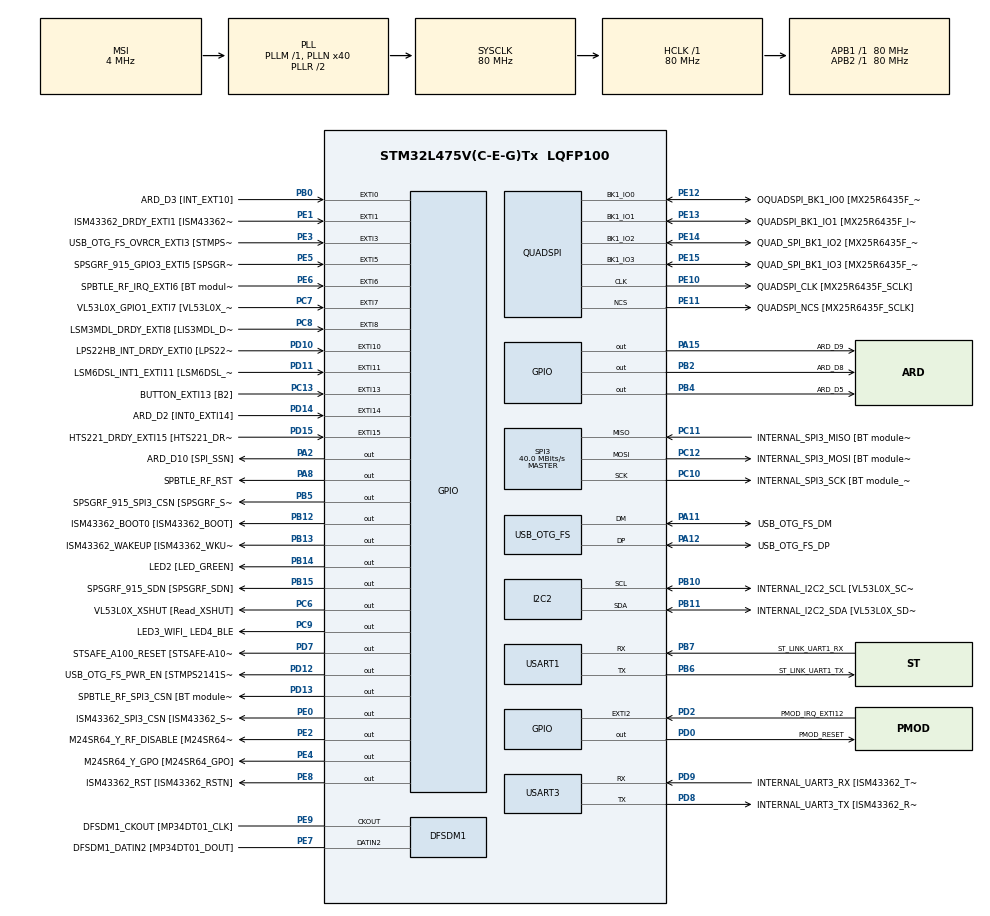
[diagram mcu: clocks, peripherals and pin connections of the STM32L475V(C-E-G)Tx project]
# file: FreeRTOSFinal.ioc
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FREERTOS.Tasks01=defaultTask,0,128,StartDefaultTask,Default,NULL,Dynamic,NULL,NULL;pingTask,-2,128,StartPingTask,Default,NULL,Dynamic,NULL,NULL;pongTask,-2,128,StartPongTask,Default,NULL,Dynamic,NULL,NULL
FREERTOS.configUSE_TIMERS=1
Mcu.Family=STM32L4
Mcu.Name=STM32L475V(C-E-G)Tx
Mcu.Package=LQFP100
NVIC.EXTI15_10_IRQn=true\:5\:0\:false\:false\:true\:true\:true\:true
NVIC.EXTI9_5_IRQn=true\:5\:0\:false\:false\:true\:true\:true\:true
NVIC.PriorityGroup=NVIC_PRIORITYGROUP_4
NVIC.TIM1_UP_TIM16_IRQn=true\:15\:0\:false\:false\:true\:false\:false\:true
NVIC.TimeBase=TIM1_UP_TIM16_IRQn
NVIC.TimeBaseIP=TIM1
PA0.GPIO_Label=ARD_D1 [UART4_TX]
PA0.Signal=UART4_TX
PA1.GPIO_Label=ARD_D0 [UART4_RX]
PA1.Signal=UART4_RX
PA10.GPIO_Label=USB_OTG_FS_ID
PA10.Signal=USB_OTG_FS_ID
PA11.GPIO_Label=USB_OTG_FS_DM
PA11.Mode=Device_Only
PA11.Signal=USB_OTG_FS_DM
PA12.GPIO_Label=USB_OTG_FS_DP
PA12.Mode=Device_Only
PA12.Signal=USB_OTG_FS_DP
PA13\ (JTMS-SWDIO).GPIO_Label=SYS_JTMS_SWDIO
PA13\ (JTMS-SWDIO).Mode=Serial_Wire
PA13\ (JTMS-SWDIO).Signal=SYS_JTMS-SWDIO
PA14\ (JTCK-SWCLK).GPIO_Label=SYS_JTCK_SWCLK
PA14\ (JTCK-SWCLK).Mode=Serial_Wire
PA14\ (JTCK-SWCLK).Signal=SYS_JTCK-SWCLK
PA15\ (JTDI).GPIO_Label=ARD_D9
PA15\ (JTDI).Signal=GPIO_Output
PA2.GPIO_Label=ARD_D10 [SPI_SSN]
PA2.Signal=GPIO_Output
PA3.GPIO_Label=ARD_D4
PA3.Signal=S_TIM2_CH4
PA4.GPIO_Label=ARD_D7
PA4.Signal=ADCx_IN9
PA5.GPIO_Label=ARD_D13 [SPI1_SCK]
PA5.Signal=SPI1_SCK
PA6.GPIO_Label=ARD_D12 [SPI1_MISO]
PA6.Signal=SPI1_MISO
PA7.GPIO_Label=ARD_D11 [SPI1_MOSI]
PA7.Signal=SPI1_MOSI
PA8.GPIO_Label=SPBTLE_RF_RST
PA8.Signal=GPIO_Output
PA9.GPIO_Label=USB_OTG_FS_VBUS [STMPS2141STR_OUT]
PA9.Signal=USB_OTG_FS_VBUS
PB0.GPIO_Label=ARD_D3 [INT_EXT10]
PB0.Signal=GPXTI0
PB1.GPIO_Label=ARD_D6 [ADC1_IN6]
PB1.Signal=ADCx_IN16
PB10.GPIO_Label=INTERNAL_I2C2_SCL [VL53L0X_SCL]
PB10.GPIO_Pu=GPIO_PULLUP
PB10.Mode=I2C
PB10.Signal=I2C2_SCL
PB11.GPIO_Label=INTERNAL_I2C2_SDA [VL53L0X_SDA]
PB11.GPIO_Pu=GPIO_PULLUP
PB11.Mode=I2C
PB11.Signal=I2C2_SDA
PB12.GPIO_Label=ISM43362_BOOT0 [ISM43362_BOOT]
PB12.Signal=GPIO_Output
PB13.GPIO_Label=ISM43362_WAKEUP [ISM43362_WKUP]
PB13.Signal=GPIO_Output
PB14.GPIO_Label=LED2 [LED_GREEN]
PB14.Signal=GPIO_Output
PB15.GPIO_Label=SPSGRF_915_SDN [SPSGRF_SDN]
PB15.Signal=GPIO_Output
PB2.GPIO_Label=ARD_D8
PB2.Signal=GPIO_Output
PB3\ (JTDO-TRACESWO).GPIO_Label=SYS_JTD0_SWO
PB3\ (JTDO-TRACESWO).Signal=SYS_JTDO-SWO
PB4\ (NJTRST).GPIO_Label=ARD_D5
PB4\ (NJTRST).Signal=GPIO_Output
PB5.GPIO_Label=SPSGRF_915_SPI3_CSN [SPSGRF_SPI_CS]
PB5.PinState=GPIO_PIN_SET
PB5.Signal=GPIO_Output
PB6.GPIO_Label=ST_LINK_UART1_TX
PB6.Mode=Asynchronous
PB6.Signal=USART1_TX
PB7.GPIO_Label=ST_LINK_UART1_RX
PB7.Mode=Asynchronous
PB7.Signal=USART1_RX
PB8.GPIO_Label=ARD_D15 [I2C1_SCL]
PB8.Signal=I2C1_SCL
PB9.GPIO_Label=ARD_D14 [I2C1_SDA]
PB9.Signal=I2C1_SDA
PC0.GPIO_Label=ARD_A5 [ADC]
PC0.Signal=ADCx_IN1
PC1.GPIO_Label=ARD_A4 [ADC]
PC1.Signal=ADCx_IN2
PC10.GPIO_Label=INTERNAL_SPI3_SCK [BT module_SPI_SCLK] [ISM43362_SCK]
PC10.Mode=Full_Duplex_Master
PC10.Signal=SPI3_SCK
PC11.GPIO_Label=INTERNAL_SPI3_MISO [BT module_SPI_MISO] [ISM43362_MISO]
PC11.Mode=Full_Duplex_Master
PC11.Signal=SPI3_MISO
PC12.GPIO_Label=INTERNAL_SPI3_MOSI [BT module_SPI_MOSI] [ISM43362_MOSI]
PC12.Mode=Full_Duplex_Master
PC12.Signal=SPI3_MOSI
PC13.GPIO_Label=BUTTON_EXTI13 [B2]
PC13.GPIO_ModeDefaultEXTI=GPIO_MODE_IT_FALLING
PC13.Signal=GPXTI13
PC14-OSC32_IN\ (PC14).Mode=LSE-External-Oscillator
PC14-OSC32_IN\ (PC14).Signal=RCC_OSC32_IN
PC15-OSC32_OUT\ (PC15).Mode=LSE-External-Oscillator
PC15-OSC32_OUT\ (PC15).Signal=RCC_OSC32_OUT
PC2.GPIO_Label=ARD_A3 [ADC]
PC2.Signal=ADCx_IN3
PC3.GPIO_Label=ARD_A2 [ADC]
PC3.Signal=ADCx_IN4
PC4.GPIO_Label=ARD_A1 [ADC]
PC4.Signal=ADCx_IN13
PC5.GPIO_Label=ARD_A0 [ADC]
PC5.Signal=ADCx_IN14
PC6.GPIO_Label=VL53L0X_XSHUT [Read_XSHUT]
PC6.Signal=GPIO_Output
PC7.GPIO_Label=VL53L0X_GPIO1_EXTI7 [VL53L0X_GPIO1]
PC7.Signal=GPXTI7
PC8.GPIO_Label=LSM3MDL_DRDY_EXTI8 [LIS3MDL_DRDY]
PC8.Signal=GPXTI8
PC9.GPIO_Label=LED3_WIFI_ LED4_BLE
PC9.Signal=GPIO_Output
PD0.GPIO_Label=PMOD_RESET
PD0.Signal=GPIO_Output
PD1.GPIO_Label=PMOD_SPI2_SCK
PD1.Signal=SPI2_SCK
PD10.GPIO_Label=LPS22HB_INT_DRDY_EXTI0 [LPS22HB_INT_DRDY] 
PD10.Signal=GPXTI10
PD11.GPIO_Label=LSM6DSL_INT1_EXTI11 [LSM6DSL_INT1]
PD11.Signal=GPXTI11
PD12.GPIO_Label=USB_OTG_FS_PWR_EN [STMPS2141STR_EN]
PD12.Signal=GPIO_Output
PD13.GPIO_Label=SPBTLE_RF_SPI3_CSN [BT module_SPI_CS]
PD13.PinState=GPIO_PIN_SET
PD13.Signal=GPIO_Output
PD14.GPIO_Label=ARD_D2 [INT0_EXTI14]
PD14.Signal=GPXTI14
PD15.GPIO_Label=HTS221_DRDY_EXTI15 [HTS221_DRDY]
PD15.Signal=GPXTI15
PD2.GPIO_Label=PMOD_IRQ_EXTI12
PD2.Signal=GPXTI2
PD3.GPIO_Label=PMOD_UART2_CTS
PD3.Signal=USART2_CTS
PD4.GPIO_Label=PMOD_UART2_RTS
PD4.Signal=USART2_RTS
PD5.GPIO_Label=PMOD_UART2_TX
PD5.Signal=USART2_TX
PD6.GPIO_Label=PMOD_UART2_RX
PD6.Signal=USART2_RX
PD7.GPIO_Label=STSAFE_A100_RESET [STSAFE-A100_RESET]
PD7.Signal=GPIO_Output
PD8.GPIO_Label=INTERNAL_UART3_TX [ISM43362_RX]
PD8.Mode=Asynchronous
PD8.Signal=USART3_TX
PD9.GPIO_Label=INTERNAL_UART3_RX [ISM43362_TX]
PD9.Mode=Asynchronous
PD9.Signal=USART3_RX
PE0.GPIO_Label=ISM43362_SPI3_CSN [ISM43362_SSN]
PE0.PinState=GPIO_PIN_SET
PE0.Signal=GPIO_Output
PE1.GPIO_Label=ISM43362_DRDY_EXTI1 [ISM43362_DATARDY]
PE1.Signal=GPXTI1
PE10.GPIO_Label=QUADSPI_CLK [MX25R6435F_SCLK]
PE10.Mode=Single Bank
PE10.Signal=QUADSPI_CLK
PE11.GPIO_Label=QUADSPI_NCS [MX25R6435F_SCLK]
PE11.Mode=Single Bank
PE11.Signal=QUADSPI_NCS
PE12.GPIO_Label=OQUADSPI_BK1_IO0 [MX25R6435F_IO0]
PE12.Mode=Single Bank
PE12.Signal=QUADSPI_BK1_IO0
PE13.GPIO_Label=QUADSPI_BK1_IO1 [MX25R6435F_IO1]
PE13.Mode=Single Bank
PE13.Signal=QUADSPI_BK1_IO1
PE14.GPIO_Label=QUAD_SPI_BK1_IO2 [MX25R6435F_IO2]
PE14.Mode=Single Bank
PE14.Signal=QUADSPI_BK1_IO2
PE15.GPIO_Label=QUAD_SPI_BK1_IO3 [MX25R6435F_IO3]
PE15.Mode=Single Bank
PE15.Signal=QUADSPI_BK1_IO3
PE2.GPIO_Label=M24SR64_Y_RF_DISABLE [M24SR64_RFDIS]
PE2.Signal=GPIO_Output
PE3.GPIO_Label=USB_OTG_FS_OVRCR_EXTI3 [STMPS2141STR_FAULT]
PE3.Signal=GPXTI3
PE4.GPIO_Label=M24SR64_Y_GPO [M24SR64_GPO]
PE4.Signal=GPIO_Output
PE5.GPIO_Label=SPSGRF_915_GPIO3_EXTI5 [SPSGRF_GPIO_3]
PE5.Signal=GPXTI5
PE6.GPIO_Label=SPBTLE_RF_IRQ_EXTI6 [BT module_SPI_IRQ]
PE6.Signal=GPXTI6
PE7.GPIO_Label=DFSDM1_DATIN2 [MP34DT01_DOUT]
PE7.Signal=S_DATAIN2DFSDM1
PE8.GPIO_Label=ISM43362_RST [ISM43362_RSTN]
PE8.Signal=GPIO_Output
PE9.GPIO_Label=DFSDM1_CKOUT [MP34DT01_CLK]
PE9.Signal=S_CKOUTDFSDM1
ProjectManager.HeapSize=0x200
ProjectManager.StackSize=0x400
ProjectManager.TargetToolchain=STM32CubeIDE
QUADSPI.ClockPrescaler=2
QUADSPI.FifoThreshold=4
QUADSPI.FlashSize=23
QUADSPI.SampleShifting=QSPI_SAMPLE_SHIFTING_HALFCYCLE
RCC.ADCFreq_Value=48000000
RCC.AHBFreq_Value=80000000
RCC.APB1Freq_Value=80000000
RCC.APB1TimFreq_Value=80000000
RCC.APB2Freq_Value=80000000
RCC.APB2TimFreq_Value=80000000
RCC.CortexFreq_Value=80000000
RCC.HCLKFreq_Value=80000000
RCC.HSE_VALUE=8000000
RCC.HSI_VALUE=16000000
RCC.MSI_VALUE=4000000
RCC.PLLN=40
RCC.PLLSAI1N=24
RCC.SYSCLKFreq_VALUE=80000000
RCC.SYSCLKSource=RCC_SYSCLKSOURCE_PLLCLK
RCC.USBFreq_Value=48000000
RCC.VCOOutputFreq_Value=160000000
SH.ADCx_IN1.0=ADC1_IN1
SH.ADCx_IN13.0=ADC1_IN13
SH.ADCx_IN14.0=ADC1_IN14
SH.ADCx_IN16.0=ADC1_IN16
SH.ADCx_IN2.0=ADC1_IN2
SH.ADCx_IN3.0=ADC1_IN3
SH.ADCx_IN4.0=ADC1_IN4
SH.ADCx_IN9.0=ADC1_IN9
SH.S_CKOUTDFSDM1.0=DFSDM1_CKOUT,CKOUT
SH.S_CKOUTDFSDM1.1=DFSDM1_CKOUT,PDM_SPI_Input_from_ch12_and_Internal_Clock
SH.S_DATAIN2DFSDM1.0=DFSDM1_DATIN2,PDM_SPI_Input_from_ch12_and_Internal_Clock
SH.S_TIM2_CH4.0=TIM2_CH4
SPI3.CalculateBaudRate=40.0 MBits/s
SPI3.Direction=SPI_DIRECTION_2LINES
SPI3.Mode=SPI_MODE_MASTER
SPI3.VirtualType=VM_MASTER
USART1.VirtualMode-Asynchronous=VM_ASYNC
USART3.VirtualMode-Asynchronous=VM_ASYNC
USB_OTG_FS.VirtualMode=Device_Only
VP_FREERTOS_VS_CMSIS_V1.Mode=CMSIS_V1
VP_SYS_VS_tim1.Mode=TIM1
board=B-L475E-IOT01A1

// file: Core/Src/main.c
/* USER CODE BEGIN Header */
/**
 ******************************************************************************
 * @file           : main.c
 * @brief          : Main program body
 ******************************************************************************
 * @attention
 *
 * <h2><center>&copy; Copyright (c) 2021 STMicroelectronics.
 * All rights reserved.</center></h2>
 *
 * This software component is licensed by ST under BSD 3-Clause license,
 * the "License"; You may not use this file except in compliance with the
 * License. You may obtain a copy of the License at:
 *                        opensource.org/licenses/BSD-3-Clause
 *
 ******************************************************************************
 */
/* USER CODE END Header */
#include "main.h"
#include "cmsis_os.h"

/* USER CODE BEGIN Includes */
#include <string.h>
#include <stdio.h>
/* USER CODE END Includes */

DFSDM_Channel_HandleTypeDef hdfsdm1_channel1;

I2C_HandleTypeDef hi2c2;

QSPI_HandleTypeDef hqspi;

SPI_HandleTypeDef hspi3;

UART_HandleTypeDef huart1;
UART_HandleTypeDef huart3;

PCD_HandleTypeDef hpcd_USB_OTG_FS;

osThreadId defaultTaskHandle;
osThreadId pingTaskHandle;
osThreadId pongTaskHandle;
/* USER CODE BEGIN PV */

QueueHandle_t pingQueue;
QueueHandle_t pongQueue;
/* USER CODE END PV */

void SystemClock_Config(void);
static void MX_GPIO_Init(void);
static void MX_DFSDM1_Init(void);
static void MX_I2C2_Init(void);
static void MX_QUADSPI_Init(void);
static void MX_SPI3_Init(void);
static void MX_USART1_UART_Init(void);
static void MX_USART3_UART_Init(void);
static void MX_USB_OTG_FS_PCD_Init(void);
void StartDefaultTask(void const *argument);
void StartPingTask(void const *argument);
void StartPongTask(void const *argument);

/* USER CODE BEGIN PFP */
void prvMyTimerOneShot(void);
void prvMyTimerAutoReload(void);
/* USER CODE END PFP */

int main(void) {

    /* MCU Configuration--------------------------------------------------------*/

    /* Reset of all peripherals, Initializes the Flash interface and the Systick. */
    HAL_Init();

    /* Configure the system clock */
    SystemClock_Config();

    /* Initialize all configured peripherals */
    MX_GPIO_Init();
    MX_DFSDM1_Init();
    MX_I2C2_Init();
    MX_QUADSPI_Init();
    MX_SPI3_Init();
    MX_USART1_UART_Init();
    MX_USART3_UART_Init();
    MX_USB_OTG_FS_PCD_Init();
    /* USER CODE BEGIN 2 */
    pingQueue = xQueueCreate(1, sizeof(uint32_t));
    pongQueue = xQueueCreate(1, sizeof(uint32_t));
    /* USER CODE END 2 */

    /* USER CODE BEGIN RTOS_TIMERS */
    /* start timers, add new ones, ... */

    TimerHandle_t xAutoReloadTimer = xTimerCreate("My Auto Reload", pdMS_TO_TICKS(1500), pdTRUE, NULL,
        prvMyTimerAutoReload);

    xTimerStart(xAutoReloadTimer, 0);
    /* USER CODE END RTOS_TIMERS */

    /* Create the thread(s) */
    /* definition and creation of defaultTask */
    osThreadDef(defaultTask, StartDefaultTask, osPriorityNormal, 0, 128);
    defaultTaskHandle = osThreadCreate(osThread(defaultTask), NULL);

    /* definition and creation of pingTask */
    osThreadDef(pingTask, StartPingTask, osPriorityLow, 0, 128);
    pingTaskHandle = osThreadCreate(osThread(pingTask), NULL);

    /* definition and creation of pongTask */
    osThreadDef(pongTask, StartPongTask, osPriorityLow, 0, 128);
    pongTaskHandle = osThreadCreate(osThread(pongTask), NULL);

    /* Start scheduler */
    osKernelStart();

    /* We should never get here as control is now taken by the scheduler */
    /* Infinite loop */
    while (1) {

    }
}

void SystemClock_Config(void) {
    RCC_OscInitTypeDef RCC_OscInitStruct = { 0 };
    RCC_ClkInitTypeDef RCC_ClkInitStruct = { 0 };

    /** Configure the main internal regulator output voltage
     */
    if (HAL_PWREx_ControlVoltageScaling(PWR_REGULATOR_VOLTAGE_SCALE1) != HAL_OK) {
        Error_Handler();
    }
    /** Configure LSE Drive Capability
     */
    HAL_PWR_EnableBkUpAccess();
    __HAL_RCC_LSEDRIVE_CONFIG(RCC_LSEDRIVE_LOW);
    /** Initializes the RCC Oscillators according to the specified parameters
     * in the RCC_OscInitTypeDef structure.
     */
    RCC_OscInitStruct.OscillatorType = RCC_OSCILLATORTYPE_LSE | RCC_OSCILLATORTYPE_MSI;
    RCC_OscInitStruct.LSEState = RCC_LSE_ON;
    RCC_OscInitStruct.MSIState = RCC_MSI_ON;
    RCC_OscInitStruct.MSICalibrationValue = 0;
    RCC_OscInitStruct.MSIClockRange = RCC_MSIRANGE_6;
    RCC_OscInitStruct.PLL.PLLState = RCC_PLL_ON;
    RCC_OscInitStruct.PLL.PLLSource = RCC_PLLSOURCE_MSI;
    RCC_OscInitStruct.PLL.PLLM = 1;
    RCC_OscInitStruct.PLL.PLLN = 40;
    RCC_OscInitStruct.PLL.PLLP = RCC_PLLP_DIV7;
    RCC_OscInitStruct.PLL.PLLQ = RCC_PLLQ_DIV2;
    RCC_OscInitStruct.PLL.PLLR = RCC_PLLR_DIV2;
    if (HAL_RCC_OscConfig(&RCC_OscInitStruct) != HAL_OK) {
        Error_Handler();
    }
    /** Initializes the CPU, AHB and APB buses clocks
     */
    RCC_ClkInitStruct.ClockType = RCC_CLOCKTYPE_HCLK | RCC_CLOCKTYPE_SYSCLK | RCC_CLOCKTYPE_PCLK1 | RCC_CLOCKTYPE_PCLK2;
    RCC_ClkInitStruct.SYSCLKSource = RCC_SYSCLKSOURCE_PLLCLK;
    RCC_ClkInitStruct.AHBCLKDivider = RCC_SYSCLK_DIV1;
    RCC_ClkInitStruct.APB1CLKDivider = RCC_HCLK_DIV1;
    RCC_ClkInitStruct.APB2CLKDivider = RCC_HCLK_DIV1;

    if (HAL_RCC_ClockConfig(&RCC_ClkInitStruct, FLASH_LATENCY_4) != HAL_OK) {
        Error_Handler();
    }
    /** Enable MSI Auto calibration
     */
    HAL_RCCEx_EnableMSIPLLMode();
}

static void MX_DFSDM1_Init(void) {

    hdfsdm1_channel1.Instance = DFSDM1_Channel1;
    hdfsdm1_channel1.Init.OutputClock.Activation = ENABLE;
    hdfsdm1_channel1.Init.OutputClock.Selection = DFSDM_CHANNEL_OUTPUT_CLOCK_SYSTEM;
    hdfsdm1_channel1.Init.OutputClock.Divider = 2;
    hdfsdm1_channel1.Init.Input.Multiplexer = DFSDM_CHANNEL_EXTERNAL_INPUTS;
    hdfsdm1_channel1.Init.Input.DataPacking = DFSDM_CHANNEL_STANDARD_MODE;
    hdfsdm1_channel1.Init.Input.Pins = DFSDM_CHANNEL_FOLLOWING_CHANNEL_PINS;
    hdfsdm1_channel1.Init.SerialInterface.Type = DFSDM_CHANNEL_SPI_RISING;
    hdfsdm1_channel1.Init.SerialInterface.SpiClock = DFSDM_CHANNEL_SPI_CLOCK_INTERNAL;
    hdfsdm1_channel1.Init.Awd.FilterOrder = DFSDM_CHANNEL_FASTSINC_ORDER;
    hdfsdm1_channel1.Init.Awd.Oversampling = 1;
    hdfsdm1_channel1.Init.Offset = 0;
    hdfsdm1_channel1.Init.RightBitShift = 0x00;
    if (HAL_DFSDM_ChannelInit(&hdfsdm1_channel1) != HAL_OK) {
        Error_Handler();
    }

}

static void MX_I2C2_Init(void) {

    hi2c2.Instance = I2C2;
    hi2c2.Init.Timing = 0x00000E14;
    hi2c2.Init.OwnAddress1 = 0;
    hi2c2.Init.AddressingMode = I2C_ADDRESSINGMODE_7BIT;
    hi2c2.Init.DualAddressMode = I2C_DUALADDRESS_DISABLE;
    hi2c2.Init.OwnAddress2 = 0;
    hi2c2.Init.OwnAddress2Masks = I2C_OA2_NOMASK;
    hi2c2.Init.GeneralCallMode = I2C_GENERALCALL_DISABLE;
    hi2c2.Init.NoStretchMode = I2C_NOSTRETCH_DISABLE;
    if (HAL_I2C_Init(&hi2c2) != HAL_OK) {
        Error_Handler();
    }
    /** Configure Analogue filter
     */
    if (HAL_I2CEx_ConfigAnalogFilter(&hi2c2, I2C_ANALOGFILTER_ENABLE) != HAL_OK) {
        Error_Handler();
    }
    /** Configure Digital filter
     */
    if (HAL_I2CEx_ConfigDigitalFilter(&hi2c2, 0) != HAL_OK) {
        Error_Handler();
    }

}

static void MX_QUADSPI_Init(void) {

    /* QUADSPI parameter configuration*/
    hqspi.Instance = QUADSPI;
    hqspi.Init.ClockPrescaler = 2;
    hqspi.Init.FifoThreshold = 4;
    hqspi.Init.SampleShifting = QSPI_SAMPLE_SHIFTING_HALFCYCLE;
    hqspi.Init.FlashSize = 23;
    hqspi.Init.ChipSelectHighTime = QSPI_CS_HIGH_TIME_1_CYCLE;
    hqspi.Init.ClockMode = QSPI_CLOCK_MODE_0;
    if (HAL_QSPI_Init(&hqspi) != HAL_OK) {
        Error_Handler();
    }

}

static void MX_SPI3_Init(void) {

    /* SPI3 parameter configuration*/
    hspi3.Instance = SPI3;
    hspi3.Init.Mode = SPI_MODE_MASTER;
    hspi3.Init.Direction = SPI_DIRECTION_2LINES;
    hspi3.Init.DataSize = SPI_DATASIZE_4BIT;
    hspi3.Init.CLKPolarity = SPI_POLARITY_LOW;
    hspi3.Init.CLKPhase = SPI_PHASE_1EDGE;
    hspi3.Init.NSS = SPI_NSS_SOFT;
    hspi3.Init.BaudRatePrescaler = SPI_BAUDRATEPRESCALER_2;
    hspi3.Init.FirstBit = SPI_FIRSTBIT_MSB;
    hspi3.Init.TIMode = SPI_TIMODE_DISABLE;
    hspi3.Init.CRCCalculation = SPI_CRCCALCULATION_DISABLE;
    hspi3.Init.CRCPolynomial = 7;
    hspi3.Init.CRCLength = SPI_CRC_LENGTH_DATASIZE;
    hspi3.Init.NSSPMode = SPI_NSS_PULSE_ENABLE;
    if (HAL_SPI_Init(&hspi3) != HAL_OK) {
        Error_Handler();
    }

}

static void MX_USART1_UART_Init(void) {

    huart1.Instance = USART1;
    huart1.Init.BaudRate = 115200;
    huart1.Init.WordLength = UART_WORDLENGTH_8B;
    huart1.Init.StopBits = UART_STOPBITS_1;
    huart1.Init.Parity = UART_PARITY_NONE;
    huart1.Init.Mode = UART_MODE_TX_RX;
    huart1.Init.HwFlowCtl = UART_HWCONTROL_NONE;
    huart1.Init.OverSampling = UART_OVERSAMPLING_16;
    huart1.Init.OneBitSampling = UART_ONE_BIT_SAMPLE_DISABLE;
    huart1.AdvancedInit.AdvFeatureInit = UART_ADVFEATURE_NO_INIT;
    if (HAL_UART_Init(&huart1) != HAL_OK) {
        Error_Handler();
    }

}

static void MX_USART3_UART_Init(void) {

    huart3.Instance = USART3;
    huart3.Init.BaudRate = 115200;
    huart3.Init.WordLength = UART_WORDLENGTH_8B;
    huart3.Init.StopBits = UART_STOPBITS_1;
    huart3.Init.Parity = UART_PARITY_NONE;
    huart3.Init.Mode = UART_MODE_TX_RX;
    huart3.Init.HwFlowCtl = UART_HWCONTROL_NONE;
    huart3.Init.OverSampling = UART_OVERSAMPLING_16;
    huart3.Init.OneBitSampling = UART_ONE_BIT_SAMPLE_DISABLE;
    huart3.AdvancedInit.AdvFeatureInit = UART_ADVFEATURE_NO_INIT;
    if (HAL_UART_Init(&huart3) != HAL_OK) {
        Error_Handler();
    }

}

static void MX_USB_OTG_FS_PCD_Init(void) {

    hpcd_USB_OTG_FS.Instance = USB_OTG_FS;
    hpcd_USB_OTG_FS.Init.dev_endpoints = 6;
    hpcd_USB_OTG_FS.Init.speed = PCD_SPEED_FULL;
    hpcd_USB_OTG_FS.Init.phy_itface = PCD_PHY_EMBEDDED;
    hpcd_USB_OTG_FS.Init.Sof_enable = DISABLE;
    hpcd_USB_OTG_FS.Init.low_power_enable = DISABLE;
    hpcd_USB_OTG_FS.Init.lpm_enable = DISABLE;
    hpcd_USB_OTG_FS.Init.battery_charging_enable = DISABLE;
    hpcd_USB_OTG_FS.Init.use_dedicated_ep1 = DISABLE;
    hpcd_USB_OTG_FS.Init.vbus_sensing_enable = DISABLE;
    if (HAL_PCD_Init(&hpcd_USB_OTG_FS) != HAL_OK) {
        Error_Handler();
    }

}

static void MX_GPIO_Init(void) {
    GPIO_InitTypeDef GPIO_InitStruct = { 0 };

    /* GPIO Ports Clock Enable */
    __HAL_RCC_GPIOE_CLK_ENABLE();
    __HAL_RCC_GPIOC_CLK_ENABLE();
    __HAL_RCC_GPIOA_CLK_ENABLE();
    __HAL_RCC_GPIOB_CLK_ENABLE();
    __HAL_RCC_GPIOD_CLK_ENABLE();

    /*Configure GPIO pin Output Level */
    HAL_GPIO_WritePin(GPIOE, M24SR64_Y_RF_DISABLE_Pin | M24SR64_Y_GPO_Pin | ISM43362_RST_Pin, GPIO_PIN_RESET);

    /*Configure GPIO pin Output Level */
    HAL_GPIO_WritePin(GPIOA, ARD_D10_Pin | SPBTLE_RF_RST_Pin | ARD_D9_Pin, GPIO_PIN_RESET);

    /*Configure GPIO pin Output Level */
    HAL_GPIO_WritePin(GPIOB,
    ARD_D8_Pin | ISM43362_BOOT0_Pin | ISM43362_WAKEUP_Pin | LED2_Pin | SPSGRF_915_SDN_Pin | ARD_D5_Pin, GPIO_PIN_RESET);

    /*Configure GPIO pin Output Level */
    HAL_GPIO_WritePin(GPIOD, USB_OTG_FS_PWR_EN_Pin | PMOD_RESET_Pin | STSAFE_A100_RESET_Pin, GPIO_PIN_RESET);

    /*Configure GPIO pin Output Level */
    HAL_GPIO_WritePin(SPBTLE_RF_SPI3_CSN_GPIO_Port, SPBTLE_RF_SPI3_CSN_Pin, GPIO_PIN_SET);

    /*Configure GPIO pin Output Level */
    HAL_GPIO_WritePin(GPIOC, VL53L0X_XSHUT_Pin | LED3_WIFI__LED4_BLE_Pin, GPIO_PIN_RESET);

    /*Configure GPIO pin Output Level */
    HAL_GPIO_WritePin(SPSGRF_915_SPI3_CSN_GPIO_Port, SPSGRF_915_SPI3_CSN_Pin, GPIO_PIN_SET);

    /*Configure GPIO pin Output Level */
    HAL_GPIO_WritePin(ISM43362_SPI3_CSN_GPIO_Port, ISM43362_SPI3_CSN_Pin, GPIO_PIN_SET);

    /*Configure GPIO pins : M24SR64_Y_RF_DISABLE_Pin M24SR64_Y_GPO_Pin ISM43362_RST_Pin ISM43362_SPI3_CSN_Pin */
    GPIO_InitStruct.Pin = M24SR64_Y_RF_DISABLE_Pin | M24SR64_Y_GPO_Pin | ISM43362_RST_Pin | ISM43362_SPI3_CSN_Pin;
    GPIO_InitStruct.Mode = GPIO_MODE_OUTPUT_PP;
    GPIO_InitStruct.Pull = GPIO_NOPULL;
    GPIO_InitStruct.Speed = GPIO_SPEED_FREQ_LOW;
    HAL_GPIO_Init(GPIOE, &GPIO_InitStruct);

    /*Configure GPIO pins : USB_OTG_FS_OVRCR_EXTI3_Pin SPSGRF_915_GPIO3_EXTI5_Pin SPBTLE_RF_IRQ_EXTI6_Pin ISM43362_DRDY_EXTI1_Pin */
    GPIO_InitStruct.Pin = USB_OTG_FS_OVRCR_EXTI3_Pin | SPSGRF_915_GPIO3_EXTI5_Pin | SPBTLE_RF_IRQ_EXTI6_Pin
            | ISM43362_DRDY_EXTI1_Pin;
    GPIO_InitStruct.Mode = GPIO_MODE_IT_RISING;
    GPIO_InitStruct.Pull = GPIO_NOPULL;
    HAL_GPIO_Init(GPIOE, &GPIO_InitStruct);

    /*Configure GPIO pin : BUTTON_EXTI13_Pin */
    GPIO_InitStruct.Pin = BUTTON_EXTI13_Pin;
    GPIO_InitStruct.Mode = GPIO_MODE_IT_FALLING;
    GPIO_InitStruct.Pull = GPIO_NOPULL;
    HAL_GPIO_Init(BUTTON_EXTI13_GPIO_Port, &GPIO_InitStruct);

    /*Configure GPIO pins : ARD_A5_Pin ARD_A4_Pin ARD_A3_Pin ARD_A2_Pin
     ARD_A1_Pin ARD_A0_Pin */
    GPIO_InitStruct.Pin = ARD_A5_Pin | ARD_A4_Pin | ARD_A3_Pin | ARD_A2_Pin | ARD_A1_Pin | ARD_A0_Pin;
    GPIO_InitStruct.Mode = GPIO_MODE_ANALOG_ADC_CONTROL;
    GPIO_InitStruct.Pull = GPIO_NOPULL;
    HAL_GPIO_Init(GPIOC, &GPIO_InitStruct);

    /*Configure GPIO pins : ARD_D1_Pin ARD_D0_Pin */
    GPIO_InitStruct.Pin = ARD_D1_Pin | ARD_D0_Pin;
    GPIO_InitStruct.Mode = GPIO_MODE_AF_PP;
    GPIO_InitStruct.Pull = GPIO_NOPULL;
    GPIO_InitStruct.Speed = GPIO_SPEED_FREQ_VERY_HIGH;
    GPIO_InitStruct.Alternate = GPIO_AF8_UART4;
    HAL_GPIO_Init(GPIOA, &GPIO_InitStruct);

    /*Configure GPIO pins : ARD_D10_Pin SPBTLE_RF_RST_Pin ARD_D9_Pin */
    GPIO_InitStruct.Pin = ARD_D10_Pin | SPBTLE_RF_RST_Pin | ARD_D9_Pin;
    GPIO_InitStruct.Mode = GPIO_MODE_OUTPUT_PP;
    GPIO_InitStruct.Pull = GPIO_NOPULL;
    GPIO_InitStruct.Speed = GPIO_SPEED_FREQ_LOW;
    HAL_GPIO_Init(GPIOA, &GPIO_InitStruct);

    /*Configure GPIO pin : ARD_D4_Pin */
    GPIO_InitStruct.Pin = ARD_D4_Pin;
    GPIO_InitStruct.Mode = GPIO_MODE_AF_PP;
    GPIO_InitStruct.Pull = GPIO_NOPULL;
    GPIO_InitStruct.Speed = GPIO_SPEED_FREQ_LOW;
    GPIO_InitStruct.Alternate = GPIO_AF1_TIM2;
    HAL_GPIO_Init(ARD_D4_GPIO_Port, &GPIO_InitStruct);

    /*Configure GPIO pin : ARD_D7_Pin */
    GPIO_InitStruct.Pin = ARD_D7_Pin;
    GPIO_InitStruct.Mode = GPIO_MODE_ANALOG_ADC_CONTROL;
    GPIO_InitStruct.Pull = GPIO_NOPULL;
    HAL_GPIO_Init(ARD_D7_GPIO_Port, &GPIO_InitStruct);

    /*Configure GPIO pins : ARD_D13_Pin ARD_D12_Pin ARD_D11_Pin */
    GPIO_InitStruct.Pin = ARD_D13_Pin | ARD_D12_Pin | ARD_D11_Pin;
    GPIO_InitStruct.Mode = GPIO_MODE_AF_PP;
    GPIO_InitStruct.Pull = GPIO_NOPULL;
    GPIO_InitStruct.Speed = GPIO_SPEED_FREQ_VERY_HIGH;
    GPIO_InitStruct.Alternate = GPIO_AF5_SPI1;
    HAL_GPIO_Init(GPIOA, &GPIO_InitStruct);

    /*Configure GPIO pin : ARD_D3_Pin */
    GPIO_InitStruct.Pin = ARD_D3_Pin;
    GPIO_InitStruct.Mode = GPIO_MODE_IT_RISING;
    GPIO_InitStruct.Pull = GPIO_NOPULL;
    HAL_GPIO_Init(ARD_D3_GPIO_Port, &GPIO_InitStruct);

    /*Configure GPIO pin : ARD_D6_Pin */
    GPIO_InitStruct.Pin = ARD_D6_Pin;
    GPIO_InitStruct.Mode = GPIO_MODE_ANALOG_ADC_CONTROL;
    GPIO_InitStruct.Pull = GPIO_NOPULL;
    HAL_GPIO_Init(ARD_D6_GPIO_Port, &GPIO_InitStruct);

    /*Configure GPIO pins : ARD_D8_Pin ISM43362_BOOT0_Pin ISM43362_WAKEUP_Pin LED2_Pin
     SPSGRF_915_SDN_Pin ARD_D5_Pin SPSGRF_915_SPI3_CSN_Pin */
    GPIO_InitStruct.Pin = ARD_D8_Pin | ISM43362_BOOT0_Pin | ISM43362_WAKEUP_Pin | LED2_Pin | SPSGRF_915_SDN_Pin
            | ARD_D5_Pin | SPSGRF_915_SPI3_CSN_Pin;
    GPIO_InitStruct.Mode = GPIO_MODE_OUTPUT_PP;
    GPIO_InitStruct.Pull = GPIO_NOPULL;
    GPIO_InitStruct.Speed = GPIO_SPEED_FREQ_LOW;
    HAL_GPIO_Init(GPIOB, &GPIO_InitStruct);

    /*Configure GPIO pins : LPS22HB_INT_DRDY_EXTI0_Pin LSM6DSL_INT1_EXTI11_Pin ARD_D2_Pin HTS221_DRDY_EXTI15_Pin
     PMOD_IRQ_EXTI12_Pin */
    GPIO_InitStruct.Pin = LPS22HB_INT_DRDY_EXTI0_Pin | LSM6DSL_INT1_EXTI11_Pin | ARD_D2_Pin | HTS221_DRDY_EXTI15_Pin
            | PMOD_IRQ_EXTI12_Pin;
    GPIO_InitStruct.Mode = GPIO_MODE_IT_RISING;
    GPIO_InitStruct.Pull = GPIO_NOPULL;
    HAL_GPIO_Init(GPIOD, &GPIO_InitStruct);

    /*Configure GPIO pins : USB_OTG_FS_PWR_EN_Pin SPBTLE_RF_SPI3_CSN_Pin PMOD_RESET_Pin STSAFE_A100_RESET_Pin */
    GPIO_InitStruct.Pin = USB_OTG_FS_PWR_EN_Pin | SPBTLE_RF_SPI3_CSN_Pin | PMOD_RESET_Pin | STSAFE_A100_RESET_Pin;
    GPIO_InitStruct.Mode = GPIO_MODE_OUTPUT_PP;
    GPIO_InitStruct.Pull = GPIO_NOPULL;
    GPIO_InitStruct.Speed = GPIO_SPEED_FREQ_LOW;
    HAL_GPIO_Init(GPIOD, &GPIO_InitStruct);

    /*Configure GPIO pins : VL53L0X_XSHUT_Pin LED3_WIFI__LED4_BLE_Pin */
    GPIO_InitStruct.Pin = VL53L0X_XSHUT_Pin | LED3_WIFI__LED4_BLE_Pin;
    GPIO_InitStruct.Mode = GPIO_MODE_OUTPUT_PP;
    GPIO_InitStruct.Pull = GPIO_NOPULL;
    GPIO_InitStruct.Speed = GPIO_SPEED_FREQ_LOW;
    HAL_GPIO_Init(GPIOC, &GPIO_InitStruct);

    /*Configure GPIO pins : VL53L0X_GPIO1_EXTI7_Pin LSM3MDL_DRDY_EXTI8_Pin */
    GPIO_InitStruct.Pin = VL53L0X_GPIO1_EXTI7_Pin | LSM3MDL_DRDY_EXTI8_Pin;
    GPIO_InitStruct.Mode = GPIO_MODE_IT_RISING;
    GPIO_InitStruct.Pull = GPIO_NOPULL;
    HAL_GPIO_Init(GPIOC, &GPIO_InitStruct);

    /*Configure GPIO pin : PMOD_SPI2_SCK_Pin */
    GPIO_InitStruct.Pin = PMOD_SPI2_SCK_Pin;
    GPIO_InitStruct.Mode = GPIO_MODE_AF_PP;
    GPIO_InitStruct.Pull = GPIO_NOPULL;
    GPIO_InitStruct.Speed = GPIO_SPEED_FREQ_VERY_HIGH;
    GPIO_InitStruct.Alternate = GPIO_AF5_SPI2;
    HAL_GPIO_Init(PMOD_SPI2_SCK_GPIO_Port, &GPIO_InitStruct);

    /*Configure GPIO pins : PMOD_UART2_CTS_Pin PMOD_UART2_RTS_Pin PMOD_UART2_TX_Pin PMOD_UART2_RX_Pin */
    GPIO_InitStruct.Pin = PMOD_UART2_CTS_Pin | PMOD_UART2_RTS_Pin | PMOD_UART2_TX_Pin | PMOD_UART2_RX_Pin;
    GPIO_InitStruct.Mode = GPIO_MODE_AF_PP;
    GPIO_InitStruct.Pull = GPIO_NOPULL;
    GPIO_InitStruct.Speed = GPIO_SPEED_FREQ_VERY_HIGH;
    GPIO_InitStruct.Alternate = GPIO_AF7_USART2;
    HAL_GPIO_Init(GPIOD, &GPIO_InitStruct);

    /*Configure GPIO pins : ARD_D15_Pin ARD_D14_Pin */
    GPIO_InitStruct.Pin = ARD_D15_Pin | ARD_D14_Pin;
    GPIO_InitStruct.Mode = GPIO_MODE_AF_OD;
    GPIO_InitStruct.Pull = GPIO_NOPULL;
    GPIO_InitStruct.Speed = GPIO_SPEED_FREQ_VERY_HIGH;
    GPIO_InitStruct.Alternate = GPIO_AF4_I2C1;
    HAL_GPIO_Init(GPIOB, &GPIO_InitStruct);

    /* EXTI interrupt init*/
    HAL_NVIC_SetPriority(EXTI9_5_IRQn, 5, 0);
    HAL_NVIC_EnableIRQ(EXTI9_5_IRQn);

    HAL_NVIC_SetPriority(EXTI15_10_IRQn, 5, 0);
    HAL_NVIC_EnableIRQ(EXTI15_10_IRQn);

}

/* USER CODE BEGIN 4 */
void prvMyTimerOneShot(void) {
    HAL_GPIO_TogglePin(ARD_D8_GPIO_Port, ARD_D8_Pin);
}

void prvMyTimerAutoReload(void) {
    HAL_GPIO_TogglePin(ARD_D5_GPIO_Port, ARD_D5_Pin);
}

/**
 * @brief  EXTI line detection callback.
 * @param  GPIO_Pin Specifies the port pin connected to corresponding EXTI line.
 * @retval None
 */
void HAL_GPIO_EXTI_Callback(uint16_t GPIO_Pin) {

    if (GPIO_Pin == GPIO_PIN_13) {

        TimerHandle_t xOneShotTimer;
        xOneShotTimer = xTimerCreate("My One Shot", pdMS_TO_TICKS(100), pdFALSE, NULL, prvMyTimerOneShot);

        xTimerStart(xOneShotTimer, 0); // toggle led on
        xTimerStart(xOneShotTimer, pdMS_TO_TICKS(1000)); // toggle led off after a second
    }
}

/* USER CODE END 4 */

void StartDefaultTask(void const *argument) {
    /* USER CODE BEGIN 5 */
    /* Infinite loop */
    for (;;) {
        HAL_GPIO_TogglePin(LED2_GPIO_Port, LED2_Pin);
        vTaskDelay(pdMS_TO_TICKS(500));
    }
    /* USER CODE END 5 */
}

void StartPingTask(void const *argument) {
    /* USER CODE BEGIN StartPingTask */

    uint32_t ping = 0;
    uint32_t pong;
    BaseType_t xStatus;

    xQueueSend(pingQueue, &ping, portMAX_DELAY);

    /* Infinite loop */
    for (;;) {
        xStatus = xQueueReceive(pongQueue, &pong, portMAX_DELAY);
        if (xStatus != pdPASS) {
            char *buff = "Could not receive from queue\r\n";

            HAL_UART_Transmit(&huart1, (uint8_t*) buff, strlen(buff), HAL_MAX_DELAY);
        }

        ping++;
        HAL_GPIO_TogglePin(ARD_D10_GPIO_Port, ARD_D10_Pin);

        xStatus = xQueueSend(pingQueue, &ping, portMAX_DELAY);
        if (xStatus != pdPASS) {
            char *buff = "Could not send to queue\r\n";

            HAL_UART_Transmit(&huart1, buff, strlen(buff), HAL_MAX_DELAY);
        }
    }
    /* USER CODE END StartPingTask */
}

void StartPongTask(void const *argument) {
    /* USER CODE BEGIN StartPongTask */

    uint32_t pong = 0;
    uint32_t ping;
    BaseType_t xStatus;

    xQueueSend(pingQueue, &pong, portMAX_DELAY);

    /* Infinite loop */
    for (;;) {
        xStatus = xQueueReceive(pingQueue, &ping, portMAX_DELAY);
        if (xStatus != pdPASS) {
            char *buff = "Could not receive from queue\r\n";

            HAL_UART_Transmit(&huart1, (uint8_t*) buff, strlen(buff), HAL_MAX_DELAY);
        }

        pong++;
        HAL_GPIO_TogglePin(ARD_D9_GPIO_Port, ARD_D9_Pin);

        xStatus = xQueueSend(pingQueue, &pong, portMAX_DELAY);
        if (xStatus != pdPASS) {
            char *buff = "Could not send to queue\r\n";

            HAL_UART_Transmit(&huart1, buff, strlen(buff), HAL_MAX_DELAY);
        }
    }
    /* USER CODE END StartPongTask */
}

void HAL_TIM_PeriodElapsedCallback(TIM_HandleTypeDef *htim) {
    if (htim->Instance == TIM1) {
        HAL_IncTick();
    }
}

void Error_Handler(void) {
    __disable_irq();
    while (1) {
    }
}

/************************ (C) COPYRIGHT STMicroelectronics *****END OF FILE****/
